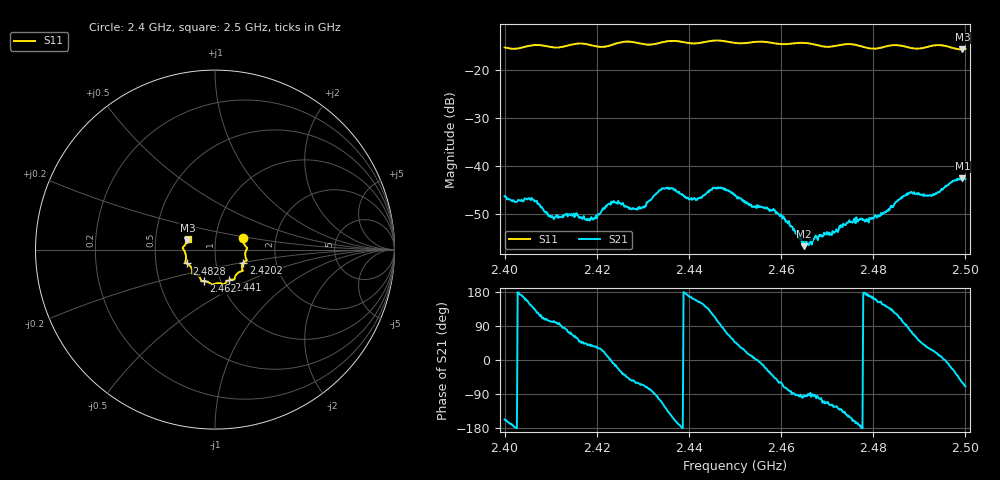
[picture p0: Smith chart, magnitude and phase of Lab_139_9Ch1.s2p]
# Hz S RI R 50
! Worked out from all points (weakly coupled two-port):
!   601 points, 2.4 GHz to 2.5 GHz, reference 50 ohm
!   highest |S21| = -42.66 dB at 2.4993 GHz (marker M1); lowest = -56.8 dB at 2.465 GHz (marker M2)
!   lowest |S11| = -15.8 dB at 2.4993 GHz (marker M3), VSWR 1.39, Z = 36.5 + j3.89 ohm
!   |S11| at or under -10 dB: start of sweep to end of sweep
!   S12 and S22 are empty: the file has one direction only
!   S11 on the Smith chart (normalised r, x): 2.4 GHz: 1.36, +0.17; 2.4202 GHz: 1.36, -0.20; 2.441 GHz: 1.10, -0.39; 2.462 GHz: 0.83, -0.30; 2.4828 GHz: 0.72, -0.11; 2.5 GHz: 0.73, +0.09
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2.4e9  0.1583 0.0619  -0.00443 -0.00188  0 0  0 0
2.406333e9  0.1797 0.0104  -0.0032 0.00303  0 0  0 0
2.410333e9  0.1709 -0.0103  -0.000564 0.00293  0 0  0 0
2.416667e9  0.1769 -0.0605  0.00204 0.00204  0 0  0 0
2.420167e9  0.1581 -0.072  0.00257 0.00169  0 0  0 0
2.423667e9  0.1507 -0.1042  0.00422 -0.00072  0 0  0 0
2.43e9  0.1358 -0.125  0.00153 -0.00338  0 0  0 0
2.433333e9  0.1118 -0.151  -0.00106 -0.00524  0 0  0 0
2.436167e9  0.1089 -0.1666  -0.00483 -0.0032  0 0  0 0
2.441e9  0.078 -0.1702  -0.00428 0.00148  0 0  0 0
2.446e9  0.0499 -0.1947  -0.00155 0.00556  0 0  0 0
2.45e9  0.0277 -0.1875  0.00343 0.00358  0 0  0 0
2.4585e9  -0.0293 -0.186  0.00238 -0.00248  0 0  0 0
2.462e9  -0.0609 -0.1756  0.000262 -0.00231  0 0  0 0
2.465e9  -0.076 -0.174  -9.36e-05 -0.00145  0 0  0 0
2.466667e9  -0.0787 -0.1677  -0.000105 -0.0015  0 0  0 0
2.482833e9  -0.157 -0.0769  -0.0026 0.00203  0 0  0 0
2.483333e9  -0.1602 -0.0754  -0.00263 0.00235  0 0  0 0
2.487667e9  -0.1618 -0.0526  0.000544 0.00504  0 0  0 0
2.492833e9  -0.1772 0.00371  0.00446 0.00212  0 0  0 0
2.499333e9  -0.1539 0.0519  0.00368 -0.00638  0 0  0 0
2.5e9  -0.1524 0.0613  0.0025 -0.00679  0 0  0 0
